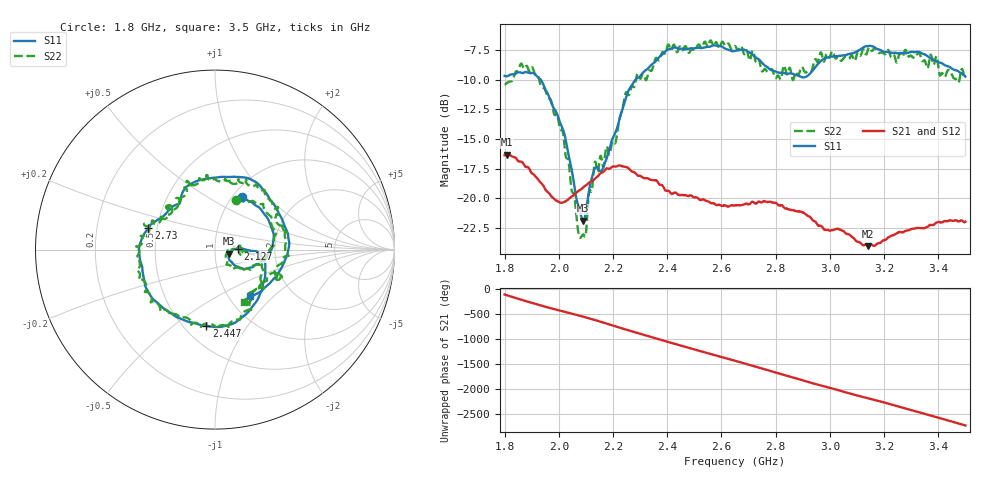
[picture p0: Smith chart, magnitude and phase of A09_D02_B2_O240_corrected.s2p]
! Created with skrf 1.9.0 (http://scikit-rf.org).
# Hz S RI R 50.0
!freq ReS11 ImS11 ReS21 ImS21 ReS12 ImS12 ReS22 ImS22
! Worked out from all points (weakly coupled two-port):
!   1601 points, 1.8 GHz to 3.5 GHz, reference 50 ohm
!   highest |S21| = -16.33 dB at 1.807 GHz (marker M1); lowest = -24.1 dB at 3.142 GHz (marker M2)
!   lowest |S11| = -21.9 dB at 2.09 GHz (marker M3), VSWR 1.17, Z = 58.3 - j2.66 ohm
!   |S11| at or under -10 dB: 1.933 GHz to 2.282 GHz (348.8 MHz wide, 16.5 % of centre)
!   |S22| runs from -23.4 to -6.7 dB; largest |S21 - S12| = 0.0025
!   S11 on the Smith chart (normalised r, x): 1.8 GHz: 1.10, +0.72; 2.127 GHz: 1.29, +0.00; 2.447 GHz: 0.64, -0.66; 2.73 GHz: 0.45, +0.13; 3.5 GHz: 1.25, -0.73
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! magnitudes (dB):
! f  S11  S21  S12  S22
! 1.8 GHz  -9.7  -16.4  -16.4  -10.4
! 1.807 GHz  -9.7  -16.3  -16.4  -10.3
! 1.859 GHz  -9.4  -16.9  -17.0  -8.7
! 1.901 GHz  -9.4  -17.9  -17.8  -8.9
! 1.968 GHz  -11.7  -19.7  -19.7  -11.6
! 2.014 GHz  -14.1  -20.4  -20.4  -14.3
! 2.072 GHz  -20.7  -19.4  -19.4  -22.9
! 2.084 GHz  -21.6  -19.2  -19.2  -23.2
! 2.09 GHz  -21.9  -19.1  -19.1  -23.1
! 2.127 GHz  -17.9  -18.5  -18.5  -18.1
! 2.162 GHz  -17.5  -17.8  -17.7  -17.3
! 2.208 GHz  -14.5  -17.3  -17.3  -15.4
! 2.247 GHz  -11.5  -17.4  -17.3  -11.1
! 2.367 GHz  -8.2  -18.7  -18.7  -8.3
! 2.447 GHz  -7.4  -19.7  -19.7  -7.2
! 2.65 GHz  -7.6  -20.6  -20.6  -7.1
! 2.73 GHz  -8.2  -20.4  -20.5  -8.5
! 2.812 GHz  -9.4  -20.6  -20.5  -9.7
! 2.934 GHz  -9.3  -21.8  -21.8  -9.2
! 3.142 GHz  -7.1  -24.1  -23.9  -7.3
! 3.217 GHz  -7.7  -23.3  -23.3  -7.5
! 3.5 GHz  -9.7  -22.0  -22.0  -9.5
